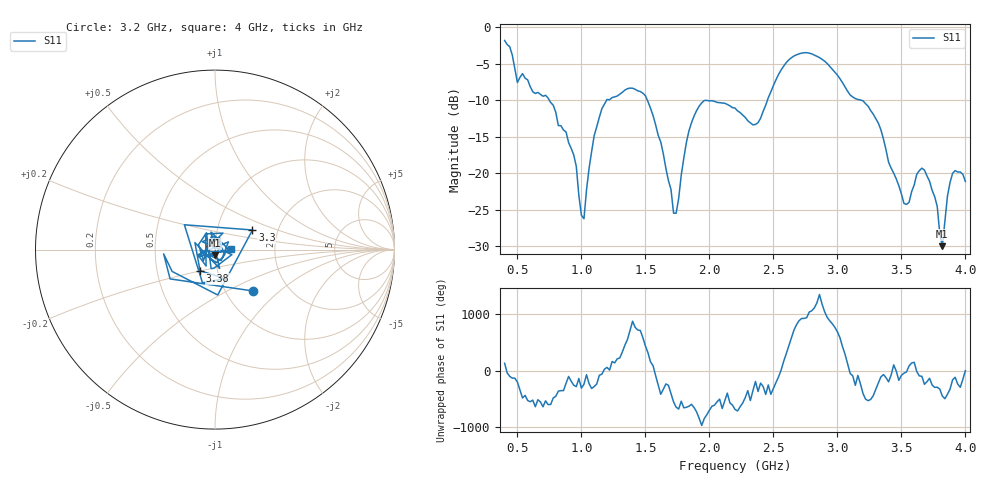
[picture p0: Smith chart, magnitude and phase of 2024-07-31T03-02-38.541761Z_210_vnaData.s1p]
!Created with skrf (http://scikit-rf.org).
# Hz S RI R 50.0
!freq ReS11 ImS11
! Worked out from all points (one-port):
!   181 points, 400 MHz to 4 GHz, reference 50 ohm
!   lowest |S11| = -30.0 dB at 3.82 GHz (marker M1), VSWR 1.07, Z = 49.7 - j3.15 ohm
!   |S11| at or under -10 dB: 748.9 MHz to 1.197 GHz (448.5 MHz wide, 46.1 % of centre); 1.515 GHz to 2.454 GHz (938.8 MHz wide, 47.3 % of centre); 3.182 GHz to end of sweep
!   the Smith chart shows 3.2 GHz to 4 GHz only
!   S11 on the Smith chart (normalised r, x): 3.2 GHz: 1.34, -0.68; 3.3 GHz: 1.48, +0.34; 3.38 GHz: 0.82, -0.20; 4 GHz: 1.19, +0.00
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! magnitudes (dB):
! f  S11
! 400 MHz  -1.8
! 500 MHz  -7.6
! 860 MHz  -14.1
! 940 MHz  -17.5
! 1.02 GHz  -26.2
! 1.06 GHz  -19.3
! 1.14 GHz  -12.4
! 1.3 GHz  -9.2
! 1.5 GHz  -9.4
! 1.62 GHz  -15.7
! 1.72 GHz  -25.5
! 1.76 GHz  -23.4
! 1.84 GHz  -14.2
! 1.92 GHz  -10.8
! 2.2 GHz  -11.1
! 2.38 GHz  -13.1
! 2.66 GHz  -4.0
! 2.88 GHz  -4.4
! 3.1 GHz  -9.3
! 3.2 GHz  -10.1
! 3.3 GHz  -12.6
! 3.38 GHz  -16.8
! 3.56 GHz  -24.0
! 3.68 GHz  -19.6
! 3.78 GHz  -24.5
! 3.82 GHz  -30.0
! 3.9 GHz  -20.0
! 4 GHz  -21.1
